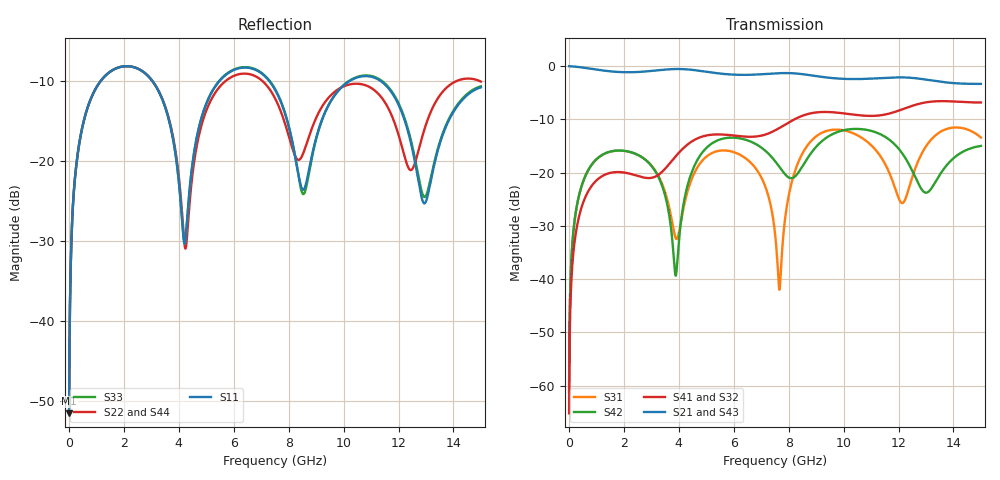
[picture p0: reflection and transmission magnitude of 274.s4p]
! Created with skrf 1.8.0 (http://scikit-rf.org).
# GHz S RI R 50.0
!freq ReS11 ImS11 ReS12 ImS12 ReS13 ImS13
! ReS14 ImS14
! ReS21 ImS21 ReS22 ImS22 ReS23 ImS23
! ReS24 ImS24
! ReS31 ImS31 ReS32 ImS32 ReS33 ImS33
! ReS34 ImS34
! ReS41 ImS41 ReS42 ImS42 ReS43 ImS43
! ReS44 ImS44
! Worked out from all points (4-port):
!   2499 points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, 5 MHz to 15 GHz, reference 50 ohm
!   strongest paths, dB at 5 MHz, 3.476 GHz, 7.19 GHz, 11.1 GHz, 15 GHz:
!     S21: 0.0, -0.7, -1.5, -2.3, -3.3
!     S43: 0.0, -0.7, -1.5, -2.3, -3.3
!     S41: -65.2, -19.4, -12.8, -9.3, -6.8
!     S32: -65.2, -19.4, -12.8, -9.4, -6.9
!     S42: -61.2, -23.9, -16.1, -12.3, -15.0
!     S31: -61.2, -23.3, -23.2, -15.3, -13.4
!   lowest |S11| = -51.5 dB at 5 MHz (marker M1), VSWR 1.01, Z = 50.2 + j0.161 ohm
!   |S11| at or under -10 dB: 3.032 GHz to 5.485 GHz (2.453 GHz wide, 57.6 % of centre); 7.29 GHz to 10.23 GHz (2.939 GHz wide, 33.6 % of centre); 11.34 GHz to end of sweep (the widest 3 of 4)
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0.005  0.00212 0.0016  0.9978 -0.00412  0.000109 0.000867  -0.000106 -0.00054
       0.9978 -0.00412  0.00212 0.0016  -0.000106 -0.00054  0.000109 0.000867
       0.000109 0.000867  -0.000106 -0.00054  0.00212 0.0016  0.9978 -0.00412
       -0.000106 -0.00054  0.000109 0.000867  0.9978 -0.00412  0.00212 0.0016
1.269279  0.2873 0.1685  0.5103 -0.7492  0.1371 0.0588  -0.0946 0.000518
          0.5103 -0.7492  0.2869 0.1688  -0.0945 0.000402  0.1382 0.0573
          0.1371 0.0588  -0.0945 0.000402  0.2874 0.1684  0.5103 -0.7492
          -0.0946 0.000518  0.1382 0.0573  0.5103 -0.7492  0.2869 0.1688
4.195498  0.0303 -0.00574  -0.9306 -0.0895  -0.0202 0.0455  -0.0113 0.1721
          -0.9306 -0.0895  0.0281 -0.0142  -0.0129 0.172  0.0258 0.0484
          -0.0202 0.0455  -0.0129 0.172  0.0309 -0.00521  -0.9306 -0.0892
          -0.0113 0.1721  0.0258 0.0484  -0.9306 -0.0892  0.0274 -0.0139
7.665694  0.1741 -0.1724  0.6065 0.6063  0.00652 0.00455  0.1776 -0.1933
          0.6065 0.6063  0.1786 -0.1176  0.182 -0.1888  -0.0648 -0.0925
          0.00652 0.00455  0.182 -0.1888  0.1726 -0.1773  0.6057 0.6062
          0.1776 -0.1933  -0.0648 -0.0925  0.6057 0.6062  0.1842 -0.1152
8.428512  0.0639 -0.0327  0.8283 0.1624  0.0222 0.1371  0.0561 -0.3314
          0.8283 0.1624  0.1029 0.00899  0.0634 -0.3307  -0.0523 0.0933
          0.0222 0.1371  0.0634 -0.3307  0.0597 -0.0348  0.8279 0.163
          0.0561 -0.3314  -0.0523 0.0933  0.8279 0.163  0.1088 0.00695
11.26094  0.2989 -0.1214  -0.1395 -0.7563  0.1389 -0.0625  -0.3185 0.128
          -0.1395 -0.7563  0.2468 -0.0911  -0.3206 0.1186  0.1062 -0.2086
          0.1389 -0.0625  -0.3206 0.1186  0.3036 -0.1209  -0.1391 -0.7555
          -0.3185 0.128  0.1062 -0.2086  -0.1391 -0.7555  0.2478 -0.0913
15  0.2832 0.0526  -0.1766 0.6573  0.1664 -0.1339  0.4524 0.0547
    -0.1766 0.6573  0.3113 -0.0309  0.4474 0.0718  0.0926 -0.152
    0.1664 -0.1339  0.4474 0.0718  0.2896 0.0415  -0.176 0.6575
    0.4524 0.0547  0.0926 -0.152  -0.176 0.6575  0.3089 -0.0208
